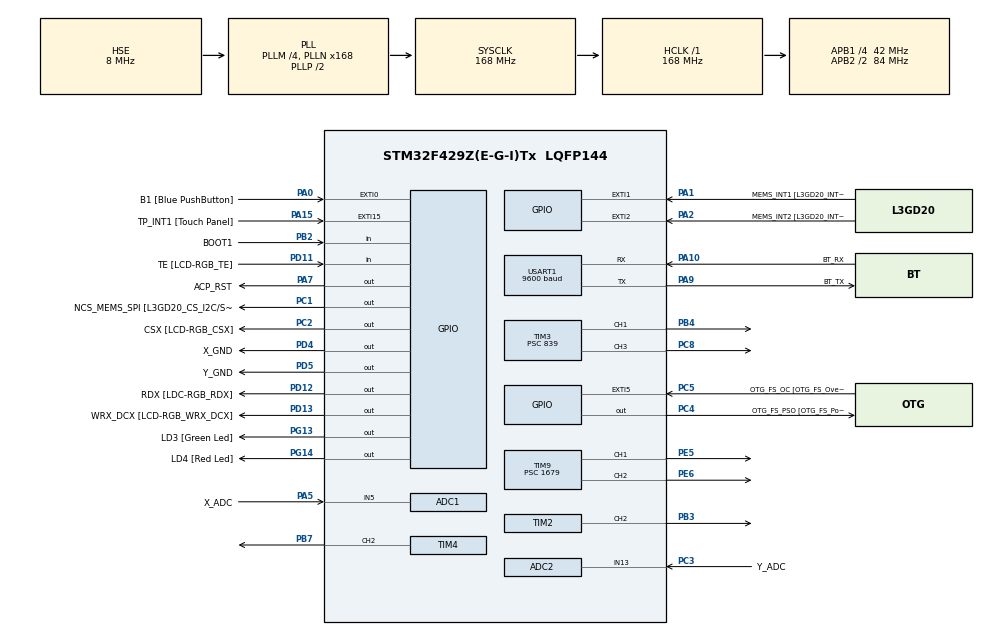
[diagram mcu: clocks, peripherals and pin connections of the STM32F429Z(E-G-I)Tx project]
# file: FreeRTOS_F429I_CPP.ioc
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ADC1.Channel-0\#ChannelRegularConversion=ADC_CHANNEL_5
ADC1.Channel-10\#ChannelRegularConversion=ADC_CHANNEL_5
ADC1.Channel-6\#ChannelRegularConversion=ADC_CHANNEL_5
ADC1.Channel-7\#ChannelRegularConversion=ADC_CHANNEL_5
ADC1.Channel-8\#ChannelRegularConversion=ADC_CHANNEL_5
ADC1.Channel-9\#ChannelRegularConversion=ADC_CHANNEL_5
ADC1.ClockPrescaler=ADC_CLOCK_SYNC_PCLK_DIV8
ADC1.ContinuousConvMode=DISABLE
ADC1.DMAContinuousRequests=DISABLE
ADC1.DataAlign=ADC_DATAALIGN_RIGHT
ADC1.DiscontinuousConvMode=DISABLE
ADC1.EOCSelection=ADC_EOC_SINGLE_CONV
ADC1.EnableAnalogWatchDog=false
ADC1.ExternalTrigConv=ADC_SOFTWARE_START
ADC1.ExternalTrigConvEdge=ADC_EXTERNALTRIGCONVEDGE_NONE
ADC1.InjNumberOfConversion=0
ADC1.NbrOfConversion=1
ADC1.NbrOfConversionFlag=1
ADC1.Rank-0\#ChannelRegularConversion=1
ADC1.Rank-10\#ChannelRegularConversion=6
ADC1.Rank-6\#ChannelRegularConversion=2
ADC1.Rank-7\#ChannelRegularConversion=3
ADC1.Rank-8\#ChannelRegularConversion=4
ADC1.Rank-9\#ChannelRegularConversion=5
ADC1.Resolution=ADC_RESOLUTION_12B
ADC1.SamplingTime-0\#ChannelRegularConversion=ADC_SAMPLETIME_480CYCLES
ADC1.SamplingTime-10\#ChannelRegularConversion=ADC_SAMPLETIME_3CYCLES
ADC1.SamplingTime-6\#ChannelRegularConversion=ADC_SAMPLETIME_3CYCLES
ADC1.SamplingTime-7\#ChannelRegularConversion=ADC_SAMPLETIME_3CYCLES
ADC1.SamplingTime-8\#ChannelRegularConversion=ADC_SAMPLETIME_3CYCLES
ADC1.SamplingTime-9\#ChannelRegularConversion=ADC_SAMPLETIME_3CYCLES
ADC1.ScanConvMode=DISABLE
ADC1.master=1
ADC2.Channel-0\#ChannelRegularConversion=ADC_CHANNEL_13
ADC2.ClockPrescaler=ADC_CLOCK_SYNC_PCLK_DIV8
ADC2.NbrOfConversionFlag=1
ADC2.Rank-0\#ChannelRegularConversion=1
ADC2.SamplingTime-0\#ChannelRegularConversion=ADC_SAMPLETIME_480CYCLES
FREERTOS.BinarySemaphores01=bluetoothTxSemaphore,Dynamic,NULL;bluetoothRxSemaphore,Dynamic,NULL;touchPanelADCSemaphore,Dynamic,NULL
FREERTOS.INCLUDE_eTaskGetState=1
FREERTOS.INCLUDE_xTaskGetCurrentTaskHandle=1
FREERTOS.MEMORY_ALLOCATION=0
FREERTOS.Tasks01=defaultTask,0,512,StartDefaultTask,Default,NULL,Dynamic,NULL,NULL;bluetoothTx,1,128,StartBluetoothTx,Default,NULL,Dynamic,NULL,NULL;bluetoothRx,1,128,StartBluetoothRx,Default,NULL,Dynamic,NULL,NULL;touchPanelTask,1,128,StartTouchPanelTask,Default,NULL,Dynamic,NULL,NULL
FREERTOS.configLIBRARY_MAX_SYSCALL_INTERRUPT_PRIORITY=1
FREERTOS.configMAX_PRIORITIES=18
FREERTOS.configMAX_TASK_NAME_LEN=32
FREERTOS.configTOTAL_HEAP_SIZE=0x12000
FREERTOS.configUSE_IDLE_HOOK=1
FREERTOS.configUSE_MALLOC_FAILED_HOOK=0
FREERTOS.configUSE_TICK_HOOK=1
Mcu.Family=STM32F4
Mcu.Name=STM32F429Z(E-G-I)Tx
Mcu.Package=LQFP144
NVIC.ADC_IRQn=true\:3\:0\:true\:false\:true\:true
NVIC.PriorityGroup=NVIC_PRIORITYGROUP_4
NVIC.TIM7_IRQn=true\:0\:0\:false\:false\:true\:false
NVIC.TimeBase=TIM7_IRQn
NVIC.TimeBaseIP=TIM7
NVIC.USART1_IRQn=true\:2\:0\:true\:false\:true\:true
PA0/WKUP.GPIO_Label=B1 [Blue PushButton]
PA0/WKUP.GPIO_ModeDefaultEXTI=GPIO_MODE_EVT_RISING
PA0/WKUP.GPIO_PuPd=GPIO_NOPULL
PA0/WKUP.Signal=GPXTI0
PA1.GPIO_Label=MEMS_INT1 [L3GD20_INT1]
PA1.GPIO_ModeDefaultEXTI=GPIO_MODE_EVT_RISING
PA1.GPIO_PuPd=GPIO_NOPULL
PA1.Signal=GPXTI1
PA10.GPIO_Label=BT_RX
PA10.Mode=Asynchronous
PA10.Signal=USART1_RX
PA11.GPIO_Label=R4
PA11.GPIO_Mode=GPIO_MODE_AF_PP
PA11.GPIO_PuPd=GPIO_NOPULL
PA11.GPIO_Speed=GPIO_SPEED_FREQ_LOW
PA11.Signal=LTDC_R4
PA12.GPIO_Label=R5
PA12.GPIO_Mode=GPIO_MODE_AF_PP
PA12.GPIO_PuPd=GPIO_NOPULL
PA12.GPIO_Speed=GPIO_SPEED_FREQ_LOW
PA12.Signal=LTDC_R5
PA13.GPIO_Label=SWDIO
PA13.Signal=SYS_JTMS-SWDIO
PA14.GPIO_Label=SWCLK
PA14.Signal=SYS_JTCK-SWCLK
PA15.GPIO_Label=TP_INT1 [Touch Panel]
PA15.GPIO_ModeDefaultEXTI=GPIO_MODE_EVT_RISING
PA15.GPIO_PuPd=GPIO_NOPULL
PA15.Signal=GPXTI15
PA2.GPIO_Label=MEMS_INT2 [L3GD20_INT2]
PA2.GPIO_ModeDefaultEXTI=GPIO_MODE_EVT_RISING
PA2.GPIO_PuPd=GPIO_NOPULL
PA2.Signal=GPXTI2
PA3.GPIO_Label=B5
PA3.GPIO_Mode=GPIO_MODE_AF_PP
PA3.GPIO_PuPd=GPIO_NOPULL
PA3.GPIO_Speed=GPIO_SPEED_FREQ_LOW
PA3.Signal=LTDC_B5
PA4.GPIO_Label=VSYNC
PA4.GPIO_Mode=GPIO_MODE_AF_PP
PA4.GPIO_PuPd=GPIO_NOPULL
PA4.GPIO_Speed=GPIO_SPEED_FREQ_LOW
PA4.Signal=LTDC_VSYNC
PA5.GPIO_Label=X_ADC
PA5.Signal=ADCx_IN5
PA6.GPIO_Label=G2
PA6.GPIO_Mode=GPIO_MODE_AF_PP
PA6.GPIO_PuPd=GPIO_NOPULL
PA6.GPIO_Speed=GPIO_SPEED_FREQ_LOW
PA6.Signal=LTDC_G2
PA7.GPIO_Label=ACP_RST
PA7.GPIO_Mode=GPIO_MODE_OUTPUT_PP
PA7.GPIO_PuPd=GPIO_NOPULL
PA7.GPIO_Speed=GPIO_SPEED_FREQ_LOW
PA7.Signal=GPIO_Output
PA8.GPIO_Label=I2C3_SCL [ACP/RF_SCL]
PA8.GPIO_Mode=GPIO_MODE_AF_OD
PA8.GPIO_PuPd=GPIO_NOPULL
PA8.GPIO_Speed=GPIO_SPEED_FREQ_LOW
PA8.Signal=I2C3_SCL
PA9.GPIO_Label=BT_TX
PA9.Mode=Asynchronous
PA9.Signal=USART1_TX
PB0.GPIO_Label=R3
PB0.GPIO_Mode=GPIO_MODE_AF_PP
PB0.GPIO_PuPd=GPIO_NOPULL
PB0.GPIO_Speed=GPIO_SPEED_FREQ_LOW
PB0.Signal=LTDC_R3
PB1.GPIO_Label=R6
PB1.GPIO_Mode=GPIO_MODE_AF_PP
PB1.GPIO_PuPd=GPIO_NOPULL
PB1.GPIO_Speed=GPIO_SPEED_FREQ_LOW
PB1.Signal=LTDC_R6
PB10.GPIO_Label=G4
PB10.GPIO_Mode=GPIO_MODE_AF_PP
PB10.GPIO_PuPd=GPIO_NOPULL
PB10.GPIO_Speed=GPIO_SPEED_FREQ_LOW
PB10.Signal=LTDC_G4
PB11.GPIO_Label=G5
PB11.GPIO_Mode=GPIO_MODE_AF_PP
PB11.GPIO_PuPd=GPIO_NOPULL
PB11.GPIO_Speed=GPIO_SPEED_FREQ_LOW
PB11.Signal=LTDC_G5
PB12.GPIO_Label=OTG_FS_ID
PB12.GPIO_Mode=GPIO_MODE_AF_PP
PB12.GPIO_PuPd=GPIO_NOPULL
PB12.GPIO_Speed=GPIO_SPEED_FREQ_LOW
PB12.Signal=USB_OTG_HS_ID
PB13.GPIO_Label=VBUS_FS
PB13.GPIO_Mode=GPIO_MODE_INPUT
PB13.GPIO_PuPd=GPIO_NOPULL
PB13.Signal=USB_OTG_HS_VBUS
PB14.GPIO_Label=OTG_FS_DM
PB14.GPIO_Mode=GPIO_MODE_AF_PP
PB14.GPIO_PuPd=GPIO_NOPULL
PB14.GPIO_Speed=GPIO_SPEED_FREQ_LOW
PB14.Signal=USB_OTG_HS_DM
PB15.GPIO_Label=OTG_FS_DP
PB15.GPIO_Mode=GPIO_MODE_AF_PP
PB15.GPIO_PuPd=GPIO_NOPULL
PB15.GPIO_Speed=GPIO_SPEED_FREQ_LOW
PB15.Signal=USB_OTG_HS_DP
PB2/BOOT1.GPIO_Label=BOOT1
PB2/BOOT1.GPIO_Mode=GPIO_MODE_INPUT
PB2/BOOT1.GPIO_PuPd=GPIO_NOPULL
PB2/BOOT1.Signal=GPIO_Input
PB3.Signal=S_TIM2_CH2
PB4.Signal=S_TIM3_CH1
PB5.GPIO_Label=SDCKE1
PB5.GPIO_Mode=GPIO_MODE_AF_PP
PB5.GPIO_PuPd=GPIO_NOPULL
PB5.GPIO_Speed=GPIO_SPEED_FREQ_VERY_HIGH
PB5.Signal=FMC_SDCKE1
PB6.GPIO_Label=SDNE1 [SDRAM_CS]
PB6.GPIO_Mode=GPIO_MODE_AF_PP
PB6.GPIO_PuPd=GPIO_NOPULL
PB6.GPIO_Speed=GPIO_SPEED_FREQ_VERY_HIGH
PB6.Signal=FMC_SDNE1
PB7.Signal=S_TIM4_CH2
PB8.GPIO_Label=B6
PB8.GPIO_Mode=GPIO_MODE_AF_PP
PB8.GPIO_PuPd=GPIO_NOPULL
PB8.GPIO_Speed=GPIO_SPEED_FREQ_LOW
PB8.Signal=LTDC_B6
PB9.GPIO_Label=B7
PB9.GPIO_Mode=GPIO_MODE_AF_PP
PB9.GPIO_PuPd=GPIO_NOPULL
PB9.GPIO_Speed=GPIO_SPEED_FREQ_LOW
PB9.Signal=LTDC_B7
PC0.GPIO_Label=SDNWE
PC0.GPIO_Mode=GPIO_MODE_AF_PP
PC0.GPIO_PuPd=GPIO_NOPULL
PC0.GPIO_Speed=GPIO_SPEED_FREQ_VERY_HIGH
PC0.Signal=FMC_SDNWE
PC1.GPIO_Label=NCS_MEMS_SPI [L3GD20_CS_I2C/SPI]
PC1.GPIO_Mode=GPIO_MODE_OUTPUT_PP
PC1.GPIO_PuPd=GPIO_NOPULL
PC1.GPIO_Speed=GPIO_SPEED_FREQ_LOW
PC1.Signal=GPIO_Output
PC10.GPIO_Label=R2
PC10.GPIO_Mode=GPIO_MODE_AF_PP
PC10.GPIO_PuPd=GPIO_NOPULL
PC10.GPIO_Speed=GPIO_SPEED_FREQ_LOW
PC10.Signal=LTDC_R2
PC14/OSC32_IN.GPIO_Label=PC14-OSC32_IN
PC14/OSC32_IN.Signal=RCC_OSC32_IN
PC15/OSC32_OUT.GPIO_Label=PC15-OSC32_OUT
PC15/OSC32_OUT.Signal=RCC_OSC32_OUT
PC2.GPIO_Label=CSX [LCD-RGB_CSX]
PC2.GPIO_Mode=GPIO_MODE_OUTPUT_PP
PC2.GPIO_PuPd=GPIO_NOPULL
PC2.GPIO_Speed=GPIO_SPEED_FREQ_LOW
PC2.Signal=GPIO_Output
PC3.GPIO_Label=Y_ADC
PC3.Signal=ADCx_IN13
PC4.GPIO_Label=OTG_FS_PSO [OTG_FS_PowerSwitchOn]
PC4.GPIO_Mode=GPIO_MODE_OUTPUT_PP
PC4.GPIO_PuPd=GPIO_NOPULL
PC4.GPIO_Speed=GPIO_SPEED_FREQ_LOW
PC4.Signal=GPIO_Output
PC5.GPIO_Label=OTG_FS_OC [OTG_FS_OverCurrent]
PC5.GPIO_ModeDefaultEXTI=GPIO_MODE_EVT_RISING
PC5.Signal=GPXTI5
PC6.GPIO_Label=HSYNC
PC6.GPIO_Mode=GPIO_MODE_AF_PP
PC6.GPIO_PuPd=GPIO_NOPULL
PC6.GPIO_Speed=GPIO_SPEED_FREQ_LOW
PC6.Signal=LTDC_HSYNC
PC7.GPIO_Label=G6
PC7.GPIO_Mode=GPIO_MODE_AF_PP
PC7.GPIO_PuPd=GPIO_NOPULL
PC7.GPIO_Speed=GPIO_SPEED_FREQ_LOW
PC7.Signal=LTDC_G6
PC8.Signal=S_TIM3_CH3
PC9.GPIO_Label=I2C3_SDA [ACP/RF_SDA]
PC9.GPIO_Mode=GPIO_MODE_AF_OD
PC9.GPIO_PuPd=GPIO_NOPULL
PC9.GPIO_Speed=GPIO_SPEED_FREQ_LOW
PC9.Signal=I2C3_SDA
PD0.GPIO_Label=D2
PD0.GPIO_Mode=GPIO_MODE_AF_PP
PD0.GPIO_PuPd=GPIO_NOPULL
PD0.GPIO_Speed=GPIO_SPEED_FREQ_VERY_HIGH
PD0.Signal=FMC_D2_DA2
PD1.GPIO_Label=D3
PD1.GPIO_Mode=GPIO_MODE_AF_PP
PD1.GPIO_PuPd=GPIO_NOPULL
PD1.GPIO_Speed=GPIO_SPEED_FREQ_VERY_HIGH
PD1.Signal=FMC_D3_DA3
PD10.GPIO_Label=D15
PD10.GPIO_Mode=GPIO_MODE_AF_PP
PD10.GPIO_PuPd=GPIO_NOPULL
PD10.GPIO_Speed=GPIO_SPEED_FREQ_VERY_HIGH
PD10.Signal=FMC_D15_DA15
PD11.GPIO_Label=TE [LCD-RGB_TE]
PD11.GPIO_Mode=GPIO_MODE_INPUT
PD11.GPIO_PuPd=GPIO_NOPULL
PD11.Signal=GPIO_Input
PD12.GPIO_Label=RDX [LDC-RGB_RDX]
PD12.GPIO_Mode=GPIO_MODE_OUTPUT_PP
PD12.GPIO_PuPd=GPIO_NOPULL
PD12.GPIO_Speed=GPIO_SPEED_FREQ_LOW
PD12.Signal=GPIO_Output
PD13.GPIO_Label=WRX_DCX [LCD-RGB_WRX_DCX]
PD13.GPIO_Mode=GPIO_MODE_OUTPUT_PP
PD13.GPIO_PuPd=GPIO_NOPULL
PD13.GPIO_Speed=GPIO_SPEED_FREQ_LOW
PD13.Signal=GPIO_Output
PD14.GPIO_Label=D0
PD14.GPIO_Mode=GPIO_MODE_AF_PP
PD14.GPIO_PuPd=GPIO_NOPULL
PD14.GPIO_Speed=GPIO_SPEED_FREQ_VERY_HIGH
PD14.Signal=FMC_D0_DA0
PD15.GPIO_Label=D1
PD15.GPIO_Mode=GPIO_MODE_AF_PP
PD15.GPIO_PuPd=GPIO_NOPULL
PD15.GPIO_Speed=GPIO_SPEED_FREQ_VERY_HIGH
PD15.Signal=FMC_D1_DA1
PD3.GPIO_Label=G7
PD3.GPIO_Mode=GPIO_MODE_AF_PP
PD3.GPIO_PuPd=GPIO_NOPULL
PD3.GPIO_Speed=GPIO_SPEED_FREQ_LOW
PD3.Signal=LTDC_G7
PD4.GPIO_Label=X_GND
PD4.GPIO_Speed=GPIO_SPEED_FREQ_VERY_HIGH
PD4.Signal=GPIO_Output
PD5.GPIO_Label=Y_GND
PD5.GPIO_Speed=GPIO_SPEED_FREQ_VERY_HIGH
PD5.Signal=GPIO_Output
PD6.GPIO_Label=B2
PD6.GPIO_Mode=GPIO_MODE_AF_PP
PD6.GPIO_PuPd=GPIO_NOPULL
PD6.GPIO_Speed=GPIO_SPEED_FREQ_LOW
PD6.Signal=LTDC_B2
PD8.GPIO_Label=D13
PD8.GPIO_Mode=GPIO_MODE_AF_PP
PD8.GPIO_PuPd=GPIO_NOPULL
PD8.GPIO_Speed=GPIO_SPEED_FREQ_VERY_HIGH
PD8.Signal=FMC_D13_DA13
PD9.GPIO_Label=D14
PD9.GPIO_Mode=GPIO_MODE_AF_PP
PD9.GPIO_PuPd=GPIO_NOPULL
PD9.GPIO_Speed=GPIO_SPEED_FREQ_VERY_HIGH
PD9.Signal=FMC_D14_DA14
PE0.GPIO_Label=NBL0 [SDRAM_LDQM]
PE0.GPIO_Mode=GPIO_MODE_AF_PP
PE0.GPIO_PuPd=GPIO_NOPULL
PE0.GPIO_Speed=GPIO_SPEED_FREQ_VERY_HIGH
PE0.Signal=FMC_NBL0
PE1.GPIO_Label=NBL1 [SDRAM_UDQM]
PE1.GPIO_Mode=GPIO_MODE_AF_PP
PE1.GPIO_PuPd=GPIO_NOPULL
PE1.GPIO_Speed=GPIO_SPEED_FREQ_VERY_HIGH
PE1.Signal=FMC_NBL1
PE10.GPIO_Label=D7
PE10.GPIO_Mode=GPIO_MODE_AF_PP
PE10.GPIO_PuPd=GPIO_NOPULL
PE10.GPIO_Speed=GPIO_SPEED_FREQ_VERY_HIGH
PE10.Signal=FMC_D7_DA7
PE11.GPIO_Label=D8
PE11.GPIO_Mode=GPIO_MODE_AF_PP
PE11.GPIO_PuPd=GPIO_NOPULL
PE11.GPIO_Speed=GPIO_SPEED_FREQ_VERY_HIGH
PE11.Signal=FMC_D8_DA8
PE12.GPIO_Label=D9
PE12.GPIO_Mode=GPIO_MODE_AF_PP
PE12.GPIO_PuPd=GPIO_NOPULL
PE12.GPIO_Speed=GPIO_SPEED_FREQ_VERY_HIGH
PE12.Signal=FMC_D9_DA9
PE13.GPIO_Label=D10
PE13.GPIO_Mode=GPIO_MODE_AF_PP
PE13.GPIO_PuPd=GPIO_NOPULL
PE13.GPIO_Speed=GPIO_SPEED_FREQ_VERY_HIGH
PE13.Signal=FMC_D10_DA10
PE14.GPIO_Label=D11
PE14.GPIO_Mode=GPIO_MODE_AF_PP
PE14.GPIO_PuPd=GPIO_NOPULL
PE14.GPIO_Speed=GPIO_SPEED_FREQ_VERY_HIGH
PE14.Signal=FMC_D11_DA11
PE15.GPIO_Label=D12
PE15.GPIO_Mode=GPIO_MODE_AF_PP
PE15.GPIO_PuPd=GPIO_NOPULL
PE15.GPIO_Speed=GPIO_SPEED_FREQ_VERY_HIGH
PE15.Signal=FMC_D12_DA12
PE5.Signal=S_TIM9_CH1
PE6.Signal=S_TIM9_CH2
PE7.GPIO_Label=D4
PE7.GPIO_Mode=GPIO_MODE_AF_PP
PE7.GPIO_PuPd=GPIO_NOPULL
PE7.GPIO_Speed=GPIO_SPEED_FREQ_VERY_HIGH
PE7.Signal=FMC_D4_DA4
PE8.GPIO_Label=D5
PE8.GPIO_Mode=GPIO_MODE_AF_PP
PE8.GPIO_PuPd=GPIO_NOPULL
PE8.GPIO_Speed=GPIO_SPEED_FREQ_VERY_HIGH
PE8.Signal=FMC_D5_DA5
PE9.GPIO_Label=D6
PE9.GPIO_Mode=GPIO_MODE_AF_PP
PE9.GPIO_PuPd=GPIO_NOPULL
PE9.GPIO_Speed=GPIO_SPEED_FREQ_VERY_HIGH
PE9.Signal=FMC_D6_DA6
PF0.GPIO_Label=A0
PF0.GPIO_Mode=GPIO_MODE_AF_PP
PF0.GPIO_PuPd=GPIO_NOPULL
PF0.GPIO_Speed=GPIO_SPEED_FREQ_VERY_HIGH
PF0.Signal=FMC_A0
PF1.GPIO_Label=A1
PF1.GPIO_Mode=GPIO_MODE_AF_PP
PF1.GPIO_PuPd=GPIO_NOPULL
PF1.GPIO_Speed=GPIO_SPEED_FREQ_VERY_HIGH
PF1.Signal=FMC_A1
PF10.GPIO_Label=ENABLE [LCD-RGB_ENABLE]
PF10.GPIO_Mode=GPIO_MODE_AF_PP
PF10.GPIO_PuPd=GPIO_NOPULL
PF10.GPIO_Speed=GPIO_SPEED_FREQ_LOW
PF10.Signal=LTDC_DE
PF11.GPIO_Label=SDNRAS
PF11.GPIO_Mode=GPIO_MODE_AF_PP
PF11.GPIO_PuPd=GPIO_NOPULL
PF11.GPIO_Speed=GPIO_SPEED_FREQ_VERY_HIGH
PF11.Signal=FMC_SDNRAS
PF12.GPIO_Label=A6
PF12.GPIO_Mode=GPIO_MODE_AF_PP
PF12.GPIO_PuPd=GPIO_NOPULL
PF12.GPIO_Speed=GPIO_SPEED_FREQ_VERY_HIGH
PF12.Signal=FMC_A6
PF13.GPIO_Label=A7
PF13.GPIO_Mode=GPIO_MODE_AF_PP
PF13.GPIO_PuPd=GPIO_NOPULL
PF13.GPIO_Speed=GPIO_SPEED_FREQ_VERY_HIGH
PF13.Signal=FMC_A7
PF14.GPIO_Label=A8
PF14.GPIO_Mode=GPIO_MODE_AF_PP
PF14.GPIO_PuPd=GPIO_NOPULL
PF14.GPIO_Speed=GPIO_SPEED_FREQ_VERY_HIGH
PF14.Signal=FMC_A8
PF15.GPIO_Label=A9
PF15.GPIO_Mode=GPIO_MODE_AF_PP
PF15.GPIO_PuPd=GPIO_NOPULL
PF15.GPIO_Speed=GPIO_SPEED_FREQ_VERY_HIGH
PF15.Signal=FMC_A9
PF2.GPIO_Label=A2
PF2.GPIO_Mode=GPIO_MODE_AF_PP
PF2.GPIO_PuPd=GPIO_NOPULL
PF2.GPIO_Speed=GPIO_SPEED_FREQ_VERY_HIGH
PF2.Signal=FMC_A2
PF3.GPIO_Label=A3
PF3.GPIO_Mode=GPIO_MODE_AF_PP
PF3.GPIO_PuPd=GPIO_NOPULL
PF3.GPIO_Speed=GPIO_SPEED_FREQ_VERY_HIGH
PF3.Signal=FMC_A3
PF4.GPIO_Label=A4
PF4.GPIO_Mode=GPIO_MODE_AF_PP
PF4.GPIO_PuPd=GPIO_NOPULL
PF4.GPIO_Speed=GPIO_SPEED_FREQ_VERY_HIGH
PF4.Signal=FMC_A4
PF5.GPIO_Label=A5
PF5.GPIO_Mode=GPIO_MODE_AF_PP
PF5.GPIO_PuPd=GPIO_NOPULL
PF5.GPIO_Speed=GPIO_SPEED_FREQ_VERY_HIGH
PF5.Signal=FMC_A5
PF7.GPIO_Label=SPI5_SCK [L3GD20_SCL/SPC]
PF7.GPIO_Mode=GPIO_MODE_AF_PP
PF7.GPIO_PuPd=GPIO_NOPULL
PF7.GPIO_Speed=GPIO_SPEED_FREQ_LOW
PF7.Signal=SPI5_SCK
PF8.GPIO_Label=SPI5_MISO [L3GD20_SDO]
PF8.GPIO_Mode=GPIO_MODE_AF_PP
PF8.GPIO_PuPd=GPIO_NOPULL
PF8.GPIO_Speed=GPIO_SPEED_FREQ_LOW
PF8.Signal=SPI5_MISO
PF9.GPIO_Label=SPI5_MOSI [L3GD20_SDA/SDI/SDO]
PF9.GPIO_Mode=GPIO_MODE_AF_PP
PF9.GPIO_PuPd=GPIO_NOPULL
PF9.GPIO_Speed=GPIO_SPEED_FREQ_LOW
PF9.Signal=SPI5_MOSI
PG0.GPIO_Label=A10
PG0.GPIO_Mode=GPIO_MODE_AF_PP
PG0.GPIO_PuPd=GPIO_NOPULL
PG0.GPIO_Speed=GPIO_SPEED_FREQ_VERY_HIGH
PG0.Signal=FMC_A10
PG1.GPIO_Label=A11
PG1.GPIO_Mode=GPIO_MODE_AF_PP
PG1.GPIO_PuPd=GPIO_NOPULL
PG1.GPIO_Speed=GPIO_SPEED_FREQ_VERY_HIGH
PG1.Signal=FMC_A11
PG10.GPIO_Label=G3
PG10.GPIO_Mode=GPIO_MODE_AF_PP
PG10.GPIO_PuPd=GPIO_NOPULL
PG10.GPIO_Speed=GPIO_SPEED_FREQ_LOW
PG10.Signal=LTDC_G3
PG11.GPIO_Label=B3
PG11.GPIO_Mode=GPIO_MODE_AF_PP
PG11.GPIO_PuPd=GPIO_NOPULL
PG11.GPIO_Speed=GPIO_SPEED_FREQ_LOW
PG11.Signal=LTDC_B3
PG12.GPIO_Label=B4
PG12.GPIO_Mode=GPIO_MODE_AF_PP
PG12.GPIO_PuPd=GPIO_NOPULL
PG12.GPIO_Speed=GPIO_SPEED_FREQ_LOW
PG12.Signal=LTDC_B4
PG13.GPIO_Label=LD3 [Green Led]
PG13.GPIO_Mode=GPIO_MODE_OUTPUT_PP
PG13.GPIO_PuPd=GPIO_NOPULL
PG13.GPIO_Speed=GPIO_SPEED_FREQ_LOW
PG13.Signal=GPIO_Output
PG14.GPIO_Label=LD4 [Red Led]
PG14.GPIO_Mode=GPIO_MODE_OUTPUT_PP
PG14.GPIO_PuPd=GPIO_NOPULL
PG14.GPIO_Speed=GPIO_SPEED_FREQ_LOW
PG14.Signal=GPIO_Output
PG15.GPIO_Label=SDNCAS
PG15.GPIO_Mode=GPIO_MODE_AF_PP
PG15.GPIO_PuPd=GPIO_NOPULL
PG15.GPIO_Speed=GPIO_SPEED_FREQ_VERY_HIGH
PG15.Signal=FMC_SDNCAS
PG4.GPIO_Label=BA0
PG4.GPIO_Mode=GPIO_MODE_AF_PP
PG4.GPIO_PuPd=GPIO_NOPULL
PG4.GPIO_Speed=GPIO_SPEED_FREQ_VERY_HIGH
PG4.Signal=FMC_A14_BA0
PG5.GPIO_Label=BA1
PG5.GPIO_Mode=GPIO_MODE_AF_PP
PG5.GPIO_PuPd=GPIO_NOPULL
PG5.GPIO_Speed=GPIO_SPEED_FREQ_VERY_HIGH
PG5.Signal=FMC_A15_BA1
PG6.GPIO_Label=R7
PG6.GPIO_Mode=GPIO_MODE_AF_PP
PG6.GPIO_PuPd=GPIO_NOPULL
PG6.GPIO_Speed=GPIO_SPEED_FREQ_LOW
PG6.Signal=LTDC_R7
PG7.GPIO_Label=DOTCLK [LCT-RGB_DOTCLK]
PG7.GPIO_Mode=GPIO_MODE_AF_PP
PG7.GPIO_PuPd=GPIO_NOPULL
PG7.GPIO_Speed=GPIO_SPEED_FREQ_LOW
PG7.Signal=LTDC_CLK
PG8.GPIO_Label=SDCLK
PG8.GPIO_Mode=GPIO_MODE_AF_PP
PG8.GPIO_PuPd=GPIO_NOPULL
PG8.GPIO_Speed=GPIO_SPEED_FREQ_VERY_HIGH
PG8.Signal=FMC_SDCLK
PH0/OSC_IN.GPIO_Label=PH0-OSC_IN
PH0/OSC_IN.Mode=HSE-External-Oscillator
PH0/OSC_IN.Signal=RCC_OSC_IN
PH1/OSC_OUT.GPIO_Label=PH1-OSC_OUT
PH1/OSC_OUT.Mode=HSE-External-Oscillator
PH1/OSC_OUT.Signal=RCC_OSC_OUT
ProjectManager.HeapSize=0x200
ProjectManager.StackSize=0x400
ProjectManager.TargetToolchain=SW4STM32
RCC.48MHZClocksFreq_Value=48000000
RCC.AHBFreq_Value=168000000
RCC.APB1CLKDivider=RCC_HCLK_DIV4
RCC.APB1Freq_Value=42000000
RCC.APB1TimFreq_Value=84000000
RCC.APB2CLKDivider=RCC_HCLK_DIV2
RCC.APB2Freq_Value=84000000
RCC.APB2TimFreq_Value=168000000
RCC.CortexFreq_Value=168000000
RCC.HCLKFreq_Value=168000000
RCC.HSE_VALUE=8000000
RCC.HSI_VALUE=16000000
RCC.LSE_VALUE=32768
RCC.PLLM=4
RCC.PLLN=168
RCC.PLLQ=7
RCC.PLLSourceVirtual=RCC_PLLSOURCE_HSE
RCC.SYSCLKFreq_VALUE=168000000
RCC.SYSCLKSource=RCC_SYSCLKSOURCE_PLLCLK
RCC.VCOOutputFreq_Value=336000000
SH.ADCx_IN13.0=ADC2_IN13,IN13
SH.ADCx_IN5.0=ADC1_IN5,IN5
SH.FMC_A0.0=FMC_A0
SH.FMC_A1.0=FMC_A1
SH.FMC_A10.0=FMC_A10
SH.FMC_A11.0=FMC_A11
SH.FMC_A14_BA0.0=FMC_BA0
SH.FMC_A15_BA1.0=FMC_BA1
SH.FMC_A2.0=FMC_A2
SH.FMC_A3.0=FMC_A3
SH.FMC_A4.0=FMC_A4
SH.FMC_A5.0=FMC_A5
SH.FMC_A6.0=FMC_A6
SH.FMC_A7.0=FMC_A7
SH.FMC_A8.0=FMC_A8
SH.FMC_A9.0=FMC_A9
SH.FMC_D0_DA0.0=FMC_D0
SH.FMC_D10_DA10.0=FMC_D10
SH.FMC_D11_DA11.0=FMC_D11
SH.FMC_D12_DA12.0=FMC_D12
SH.FMC_D13_DA13.0=FMC_D13
SH.FMC_D14_DA14.0=FMC_D14
SH.FMC_D15_DA15.0=FMC_D15
SH.FMC_D1_DA1.0=FMC_D1
SH.FMC_D2_DA2.0=FMC_D2
SH.FMC_D3_DA3.0=FMC_D3
SH.FMC_D4_DA4.0=FMC_D4
SH.FMC_D5_DA5.0=FMC_D5
SH.FMC_D6_DA6.0=FMC_D6
SH.FMC_D7_DA7.0=FMC_D7
SH.FMC_D8_DA8.0=FMC_D8
SH.FMC_D9_DA9.0=FMC_D9
SH.FMC_NBL0.0=FMC_NBL0
SH.FMC_NBL1.0=FMC_NBL1
SH.FMC_SDCLK.0=FMC_SDCLK
SH.FMC_SDNCAS.0=FMC_SDNCAS
SH.FMC_SDNRAS.0=FMC_SDNRAS
SH.FMC_SDNWE.0=FMC_SDNWE
SH.S_TIM2_CH2.0=TIM2_CH2,PWM Generation2 CH2
SH.S_TIM3_CH1.0=TIM3_CH1,PWM Generation1 CH1
SH.S_TIM3_CH3.0=TIM3_CH3,PWM Generation3 CH3
SH.S_TIM4_CH2.0=TIM4_CH2,PWM Generation2 CH2
SH.S_TIM9_CH1.0=TIM9_CH1,PWM Generation1 CH1
SH.S_TIM9_CH2.0=TIM9_CH2,PWM Generation2 CH2
TIM2.Channel-PWM\ Generation2\ CH2=TIM_CHANNEL_2
TIM2.Period=1999
TIM2.Prescaler=839
TIM3.Channel-PWM\ Generation1\ CH1=TIM_CHANNEL_1
TIM3.Channel-PWM\ Generation3\ CH3=TIM_CHANNEL_3
TIM3.Period=1999
TIM3.Prescaler=839
TIM4.Channel-PWM\ Generation2\ CH2=TIM_CHANNEL_2
TIM4.Period=1999
TIM4.Prescaler=839
TIM9.Channel-PWM\ Generation1\ CH1=TIM_CHANNEL_1
TIM9.Channel-PWM\ Generation2\ CH2=TIM_CHANNEL_2
TIM9.Period=1999
TIM9.Prescaler=1679
USART1.BaudRate=9600
USART1.VirtualMode=VM_ASYNC
VP_FREERTOS_VS_ENABLE.Mode=Enabled
VP_SYS_VS_tim7.Mode=TIM7
board=STM32F429I-DISCO

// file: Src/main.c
/**
  ******************************************************************************
  * File Name          : main.c
  * Description        : Main program body
  ******************************************************************************
  * This notice applies to any and all portions of this file
  * that are not between comment pairs USER CODE BEGIN and
  * USER CODE END. Other portions of this file, whether
  * inserted by the user or by software development tools
  * are owned by their respective copyright owners.
  *
  * Copyright (c) 2017 STMicroelectronics International N.V.
  * All rights reserved.
  *
  * Redistribution and use in source and binary forms, with or without
  * modification, are permitted, provided that the following conditions are met:
  *
  * 1. Redistribution of source code must retain the above copyright notice,
  *    this list of conditions and the following disclaimer.
  * 2. Redistributions in binary form must reproduce the above copyright notice,
  *    this list of conditions and the following disclaimer in the documentation
  *    and/or other materials provided with the distribution.
  * 3. Neither the name of STMicroelectronics nor the names of other
  *    contributors to this software may be used to endorse or promote products
  *    derived from this software without specific written permission.
  * 4. This software, including modifications and/or derivative works of this
  *    software, must execute solely and exclusively on microcontroller or
  *    microprocessor devices manufactured by or for STMicroelectronics.
  * 5. Redistribution and use of this software other than as permitted under
  *    this license is void and will automatically terminate your rights under
  *    this license.
  *
  * THIS SOFTWARE IS PROVIDED BY STMICROELECTRONICS AND CONTRIBUTORS "AS IS"
  * AND ANY EXPRESS, IMPLIED OR STATUTORY WARRANTIES, INCLUDING, BUT NOT
  * LIMITED TO, THE IMPLIED WARRANTIES OF MERCHANTABILITY, FITNESS FOR A
  * PARTICULAR PURPOSE AND NON-INFRINGEMENT OF THIRD PARTY INTELLECTUAL PROPERTY
  * RIGHTS ARE DISCLAIMED TO THE FULLEST EXTENT PERMITTED BY LAW. IN NO EVENT
  * SHALL STMICROELECTRONICS OR CONTRIBUTORS BE LIABLE FOR ANY DIRECT, INDIRECT,
  * INCIDENTAL, SPECIAL, EXEMPLARY, OR CONSEQUENTIAL DAMAGES (INCLUDING, BUT NOT
  * LIMITED TO, PROCUREMENT OF SUBSTITUTE GOODS OR SERVICES; LOSS OF USE, DATA,
  * OR PROFITS; OR BUSINESS INTERRUPTION) HOWEVER CAUSED AND ON ANY THEORY OF
  * LIABILITY, WHETHER IN CONTRACT, STRICT LIABILITY, OR TORT (INCLUDING
  * NEGLIGENCE OR OTHERWISE) ARISING IN ANY WAY OUT OF THE USE OF THIS SOFTWARE,
  * EVEN IF ADVISED OF THE POSSIBILITY OF SUCH DAMAGE.
  *
  ******************************************************************************
  */
#ifdef __cplusplus
extern "C" {
#endif
#include "main.h"
#include "stm32f4xx_hal.h"
#include "cmsis_os.h"
#include "adc.h"
#include "tim.h"
#include "usart.h"
#include "gpio.h"

/* USER CODE BEGIN Includes */
#ifdef __cplusplus
}
#endif
/* USER CODE END Includes */

/* USER CODE BEGIN PV */
/* Private variables ---------------------------------------------------------*/

/* USER CODE END PV */

void SystemClock_Config(void);
void MX_FREERTOS_Init(void);

/* USER CODE BEGIN PFP */
/* Private function prototypes -----------------------------------------------*/

/* USER CODE END PFP */

int main(void)
{

  /* MCU Configuration----------------------------------------------------------*/

  /* Reset of all peripherals, Initializes the Flash interface and the Systick. */
  HAL_Init();

  /* Configure the system clock */
  SystemClock_Config();

  /* Initialize all configured peripherals */
  MX_GPIO_Init();
  MX_USART1_UART_Init();
  MX_ADC1_Init();
  MX_TIM2_Init();
  MX_TIM3_Init();
  MX_TIM4_Init();
  MX_TIM9_Init();
  MX_ADC2_Init();

  /* Call init function for freertos objects (in freertos.c) */
  MX_FREERTOS_Init();

  /* Start scheduler */
  osKernelStart();

  /* We should never get here as control is now taken by the scheduler */

  /* Infinite loop */
  while (1)
  {

  }

}

/** System Clock Configuration
*/
void SystemClock_Config(void)
{

  RCC_OscInitTypeDef RCC_OscInitStruct;
  RCC_ClkInitTypeDef RCC_ClkInitStruct;

    /**Configure the main internal regulator output voltage
    */
  __HAL_RCC_PWR_CLK_ENABLE();

  __HAL_PWR_VOLTAGESCALING_CONFIG(PWR_REGULATOR_VOLTAGE_SCALE1);

    /**Initializes the CPU, AHB and APB busses clocks
    */
  RCC_OscInitStruct.OscillatorType = RCC_OSCILLATORTYPE_HSE;
  RCC_OscInitStruct.HSEState = RCC_HSE_ON;
  RCC_OscInitStruct.PLL.PLLState = RCC_PLL_ON;
  RCC_OscInitStruct.PLL.PLLSource = RCC_PLLSOURCE_HSE;
  RCC_OscInitStruct.PLL.PLLM = 4;
  RCC_OscInitStruct.PLL.PLLN = 168;
  RCC_OscInitStruct.PLL.PLLP = RCC_PLLP_DIV2;
  RCC_OscInitStruct.PLL.PLLQ = 7;
  if (HAL_RCC_OscConfig(&RCC_OscInitStruct) != HAL_OK)
  {
    _Error_Handler(__FILE__, __LINE__);
  }

    /**Initializes the CPU, AHB and APB busses clocks
    */
  RCC_ClkInitStruct.ClockType = RCC_CLOCKTYPE_HCLK|RCC_CLOCKTYPE_SYSCLK
                              |RCC_CLOCKTYPE_PCLK1|RCC_CLOCKTYPE_PCLK2;
  RCC_ClkInitStruct.SYSCLKSource = RCC_SYSCLKSOURCE_PLLCLK;
  RCC_ClkInitStruct.AHBCLKDivider = RCC_SYSCLK_DIV1;
  RCC_ClkInitStruct.APB1CLKDivider = RCC_HCLK_DIV4;
  RCC_ClkInitStruct.APB2CLKDivider = RCC_HCLK_DIV2;

  if (HAL_RCC_ClockConfig(&RCC_ClkInitStruct, FLASH_LATENCY_5) != HAL_OK)
  {
    _Error_Handler(__FILE__, __LINE__);
  }

    /**Configure the Systick interrupt time
    */
  HAL_SYSTICK_Config(HAL_RCC_GetHCLKFreq()/1000);

    /**Configure the Systick
    */
  HAL_SYSTICK_CLKSourceConfig(SYSTICK_CLKSOURCE_HCLK);

  /* SysTick_IRQn interrupt configuration */
  HAL_NVIC_SetPriority(SysTick_IRQn, 15, 0);
}

void HAL_TIM_PeriodElapsedCallback(TIM_HandleTypeDef *htim)
{
  if (htim->Instance == TIM7) {
    HAL_IncTick();
  }
}

void _Error_Handler(char * file, int line)
{
  while(1)
  {
  }
}

/************************ (C) COPYRIGHT STMicroelectronics *****END OF FILE****/

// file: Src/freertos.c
/**
  ******************************************************************************
  * File Name          : freertos.c
  * Description        : Code for freertos applications
  ******************************************************************************
  * This notice applies to any and all portions of this file
  * that are not between comment pairs USER CODE BEGIN and
  * USER CODE END. Other portions of this file, whether
  * inserted by the user or by software development tools
  * are owned by their respective copyright owners.
  *
  * Copyright (c) 2017 STMicroelectronics International N.V.
  * All rights reserved.
  *
  * Redistribution and use in source and binary forms, with or without
  * modification, are permitted, provided that the following conditions are met:
  *
  * 1. Redistribution of source code must retain the above copyright notice,
  *    this list of conditions and the following disclaimer.
  * 2. Redistributions in binary form must reproduce the above copyright notice,
  *    this list of conditions and the following disclaimer in the documentation
  *    and/or other materials provided with the distribution.
  * 3. Neither the name of STMicroelectronics nor the names of other
  *    contributors to this software may be used to endorse or promote products
  *    derived from this software without specific written permission.
  * 4. This software, including modifications and/or derivative works of this
  *    software, must execute solely and exclusively on microcontroller or
  *    microprocessor devices manufactured by or for STMicroelectronics.
  * 5. Redistribution and use of this software other than as permitted under
  *    this license is void and will automatically terminate your rights under
  *    this license.
  *
  * THIS SOFTWARE IS PROVIDED BY STMICROELECTRONICS AND CONTRIBUTORS "AS IS"
  * AND ANY EXPRESS, IMPLIED OR STATUTORY WARRANTIES, INCLUDING, BUT NOT
  * LIMITED TO, THE IMPLIED WARRANTIES OF MERCHANTABILITY, FITNESS FOR A
  * PARTICULAR PURPOSE AND NON-INFRINGEMENT OF THIRD PARTY INTELLECTUAL PROPERTY
  * RIGHTS ARE DISCLAIMED TO THE FULLEST EXTENT PERMITTED BY LAW. IN NO EVENT
  * SHALL STMICROELECTRONICS OR CONTRIBUTORS BE LIABLE FOR ANY DIRECT, INDIRECT,
  * INCIDENTAL, SPECIAL, EXEMPLARY, OR CONSEQUENTIAL DAMAGES (INCLUDING, BUT NOT
  * LIMITED TO, PROCUREMENT OF SUBSTITUTE GOODS OR SERVICES; LOSS OF USE, DATA,
  * OR PROFITS; OR BUSINESS INTERRUPTION) HOWEVER CAUSED AND ON ANY THEORY OF
  * LIABILITY, WHETHER IN CONTRACT, STRICT LIABILITY, OR TORT (INCLUDING
  * NEGLIGENCE OR OTHERWISE) ARISING IN ANY WAY OUT OF THE USE OF THIS SOFTWARE,
  * EVEN IF ADVISED OF THE POSSIBILITY OF SUCH DAMAGE.
  *
  ******************************************************************************
  */

#include "FreeRTOS.h"
#include "task.h"
#include "cmsis_os.h"

/* USER CODE BEGIN Includes */

#include "objects.hpp"

/* USER CODE END Includes */

osThreadId defaultTaskHandle;
osThreadId bluetoothTxHandle;
osThreadId bluetoothRxHandle;
osThreadId touchPanelTaskHandle;
osSemaphoreId bluetoothTxSemaphoreHandle;
osSemaphoreId bluetoothRxSemaphoreHandle;
osSemaphoreId touchPanelADCSemaphoreHandle;

/* USER CODE BEGIN Variables */
uint8_t td;
float X,Y;
uint32_t adc;
size_t heap;
uint16_t cpu;
uint32_t inc;

/* USER CODE END Variables */

void StartDefaultTask(void const * argument);
void StartBluetoothTx(void const * argument);
void StartBluetoothRx(void const * argument);
void StartTouchPanelTask(void const * argument);

void MX_FREERTOS_Init(void); /* (MISRA C 2004 rule 8.1) */

/* Hook prototypes */
void vApplicationIdleHook(void);
void vApplicationTickHook(void);

/* USER CODE BEGIN 2 */
__weak void vApplicationIdleHook( void )
{
   /* vApplicationIdleHook() will only be called if configUSE_IDLE_HOOK is set
   to 1 in FreeRTOSConfig.h. It will be called on each iteration of the idle
   task. It is essential that code added to this hook function never attempts
   to block in any way (for example, call xQueueReceive() with a block time
   specified, or call vTaskDelay()). If the application makes use of the
   vTaskDelete() API function (as this demo application does) then it is also
   important that vApplicationIdleHook() is permitted to return to its calling
   function, because it is the responsibility of the idle task to clean up
   memory allocated by the kernel to any task that has since been deleted. */
}
/* USER CODE END 2 */

/* USER CODE BEGIN 3 */
__weak void vApplicationTickHook( void )
{
   /* This function will be called by each tick interrupt if
   configUSE_TICK_HOOK is set to 1 in FreeRTOSConfig.h. User code can be
   added here, but the tick hook is called from an interrupt context, so
   code must not attempt to block, and only the interrupt safe FreeRTOS API
   functions can be used (those that end in FromISR()). */
}
/* USER CODE END 3 */

/* Init FreeRTOS */

void MX_FREERTOS_Init(void) {

  /* Create the semaphores(s) */
  /* definition and creation of bluetoothTxSemaphore */
  osSemaphoreDef(bluetoothTxSemaphore);
  bluetoothTxSemaphoreHandle = osSemaphoreCreate(osSemaphore(bluetoothTxSemaphore), 1);

  /* definition and creation of bluetoothRxSemaphore */
  osSemaphoreDef(bluetoothRxSemaphore);
  bluetoothRxSemaphoreHandle = osSemaphoreCreate(osSemaphore(bluetoothRxSemaphore), 1);

  /* definition and creation of touchPanelADCSemaphore */
  osSemaphoreDef(touchPanelADCSemaphore);
  touchPanelADCSemaphoreHandle = osSemaphoreCreate(osSemaphore(touchPanelADCSemaphore), 1);

  /* Create the thread(s) */
  /* definition and creation of defaultTask */
  osThreadDef(defaultTask, StartDefaultTask, osPriorityNormal, 0, 512);
  defaultTaskHandle = osThreadCreate(osThread(defaultTask), NULL);

  /* definition and creation of bluetoothTx */
  osThreadDef(bluetoothTx, StartBluetoothTx, osPriorityAboveNormal, 0, 128);
  bluetoothTxHandle = osThreadCreate(osThread(bluetoothTx), NULL);

  /* definition and creation of bluetoothRx */
  osThreadDef(bluetoothRx, StartBluetoothRx, osPriorityAboveNormal, 0, 128);
  bluetoothRxHandle = osThreadCreate(osThread(bluetoothRx), NULL);

  /* definition and creation of touchPanelTask */
  osThreadDef(touchPanelTask, StartTouchPanelTask, osPriorityAboveNormal, 0, 128);
  touchPanelTaskHandle = osThreadCreate(osThread(touchPanelTask), NULL);

}

/* StartDefaultTask function */
void StartDefaultTask(void const * argument)
{

  /* USER CODE BEGIN StartDefaultTask */

	/* Infinite loop */
	for(;;)
	{

		heap = xPortGetFreeHeapSize();

		bool beforeState = td;

		td = (Panel.IsTouched())? 23:0;

		if( (td==0) && (beforeState!=0) ) inc++;

		if( td ){
			X = Panel.GetX();
			Y = Panel.GetY();
			HAL_GPIO_WritePin(LD3_GPIO_Port,LD3_Pin,GPIO_PIN_SET);
		}else{
			HAL_GPIO_WritePin(LD3_GPIO_Port,LD3_Pin,GPIO_PIN_RESET);
		}
		osDelay(25);

	}
  /* USER CODE END StartDefaultTask */
}

/* StartBluetoothTx function */
void StartBluetoothTx(void const * argument)
{
  /* USER CODE BEGIN StartBluetoothTx */

	osSemaphoreWait(bluetoothTxSemaphoreHandle,osWaitForever);
	/* Infinite loop */
	for(;;)
	{
		osSemaphoreWait(bluetoothTxSemaphoreHandle,osWaitForever);
		Bluetooth.processTxISR();
	}
  /* USER CODE END StartBluetoothTx */
}

/* StartBluetoothRx function */
void StartBluetoothRx(void const * argument)
{
  /* USER CODE BEGIN StartBluetoothRx */

	osSemaphoreWait(bluetoothRxSemaphoreHandle,osWaitForever);
	/* Infinite loop */
	for(;;)
	{
		osSemaphoreWait(bluetoothRxSemaphoreHandle,osWaitForever);
		Bluetooth.processRxISR();
	}
  /* USER CODE END StartBluetoothRx */
}

/* StartTouchPanelTask function */
void StartTouchPanelTask(void const * argument)
{
  /* USER CODE BEGIN StartTouchPanelTask */
	 TickType_t xLastWakeTime;
	 const TickType_t xFrequency = 10;
	// Initialise the xLastWakeTime variable with the current time.
	xLastWakeTime = xTaskGetTickCount();

	osSemaphoreWait(touchPanelADCSemaphoreHandle,osWaitForever);
	/* Infinite loop */
	for(;;)
	{
		Panel.Process();
		osDelayUntil(&xLastWakeTime,xFrequency);
	}
  /* USER CODE END StartTouchPanelTask */
}

/* USER CODE BEGIN Application */
void HAL_ADC_ConvCpltCallback (ADC_HandleTypeDef * hadc){

	Panel.ADC_ConvCpltCallback(hadc);
	adc = HAL_ADC_GetValue(hadc);

}

void HAL_UART_TxCpltCallback(UART_HandleTypeDef *huart){

	if(huart->Instance == Bluetooth.getUARTInstance())
		osSemaphoreRelease(bluetoothTxSemaphoreHandle);

}

void HAL_UART_RxCpltCallback(UART_HandleTypeDef *huart){

	if(huart->Instance == Bluetooth.getUARTInstance())
		osSemaphoreRelease(bluetoothRxSemaphoreHandle);

}
/* USER CODE END Application */

/************************ (C) COPYRIGHT STMicroelectronics *****END OF FILE****/
